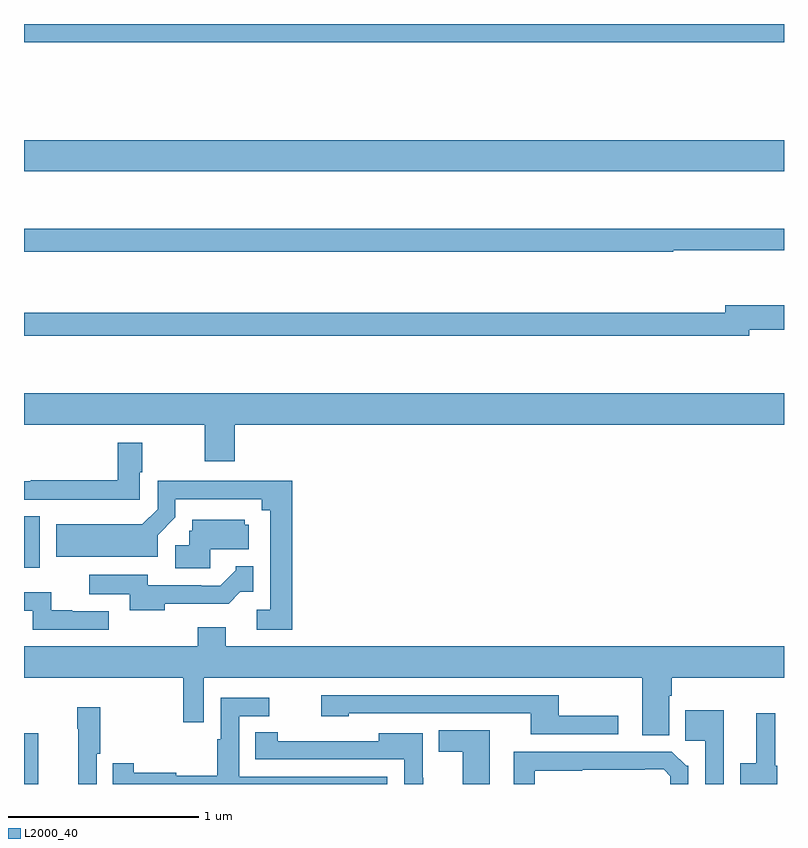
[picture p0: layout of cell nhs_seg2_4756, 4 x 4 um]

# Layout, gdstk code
import gdstk
lib = gdstk.Library(unit=1e-6, precision=1e-09)
def R(c, l, rs):  # rectangles x0, y0, x1, y1
    for r in rs: c.add(gdstk.rectangle(r[:2], r[2:], *l))
def P(c, l, *ps):  # polygons
    for p in ps: c.add(gdstk.Polygon(p, *l))
L2000_40 = (2000, 40)

nhs_seg2_4756 = lib.new_cell('nhs_seg2_4756')
R(nhs_seg2_4756, L2000_40, [(371,589.8,371.074,590.068), (371,590.937,371.083,591.208), (371,593.024,375,593.188), (371,593.704,375,593.8)])
P(nhs_seg2_4756, L2000_40, [(374.416,592.609),(375,592.609),(375,592.723),(371,592.723),(371,592.602),(374.416,592.602)],
  [(374.818,592.192),(375,592.192),(375,592.321),(374.69,592.321),(374.69,592.279),(371,592.279),(371,592.158),(374.818,592.158)],
  [(372.11,591.692),(375,591.692),(375,591.856),(371,591.856),(371,591.692),(371.95,591.692),(371.95,591.498),(372.11,591.498)],
  [(371.61,591.441),(371.623,591.441),(371.623,591.595),(371.494,591.595),(371.494,591.398),(371.035,591.398),(371.035,591.393),(371,591.393),(371,591.297),(371.179,591.297),(371.179,591.296),(371.61,591.296)],
  [(372.413,591.396),(371.703,591.396),(371.703,591.246),(371.623,591.166),(371.171,591.166),(371.171,590.996),(371.703,590.996),(371.703,591.11),(371.796,591.203),(371.796,591.3),(372.25,591.3),(372.25,591.242),(372.297,591.242),(372.297,590.718),(372.225,590.718),(372.225,590.613),(372.413,590.613)],
  [(371.98,591.035),(372.184,591.035),(372.184,591.165),(372.162,591.165),(372.162,591.19),(371.885,591.19),(371.885,591.132),(371.869,591.132),(371.869,591.057),(371.796,591.057),(371.796,590.936),(371.98,590.936)],
  [(371.74,590.75),(372.077,590.75),(372.138,590.811),(372.207,590.811),(372.207,590.947),(372.114,590.947),(372.114,590.925),(372.033,590.844),(371.933,590.844),(371.933,590.847),(371.652,590.847),(371.652,590.902),(371.343,590.902),(371.343,590.798),(371.556,590.798),(371.556,590.714),(371.74,590.714)],
  [(371.446,590.709),(371.255,590.709),(371.255,590.714),(371.144,590.714),(371.144,590.808),(371,590.808),(371,590.712),(371.046,590.712),(371.046,590.613),(371.446,590.613)],
  [(374.395,590.264),(374.408,590.264),(374.408,590.36),(375,590.36),(375,590.524),(372.061,590.524),(372.061,590.626),(371.914,590.626),(371.914,590.524),(371,590.524),(371,590.36),(371.838,590.36),(371.838,590.124),(371.946,590.124),(371.946,590.36),(374.255,590.36),(374.255,590.056),(374.395,590.056)],
  [(374.128,590.159),(373.815,590.159),(373.815,590.268),(372.564,590.268),(372.564,590.156),(372.708,590.156),(372.708,590.172),(373.667,590.172),(373.667,590.061),(374.128,590.061)],
  [(372.912,589.839),(372.132,589.839),(372.132,590.157),(372.292,590.157),(372.292,590.253),(372.036,590.253),(372.036,590.036),(372.016,590.036),(372.016,589.844),(371.802,589.844),(371.802,589.859),(371.578,589.859),(371.578,589.909),(371.467,589.909),(371.467,589.8),(372.912,589.8)],
  [(371.382,589.958),(371.402,589.958),(371.402,590.203),(371.279,590.203),(371.279,590.09),(371.285,590.09),(371.285,589.8),(371.382,589.8)],
  [(374.682,590.188),(374.48,590.188),(374.48,590.028),(374.586,590.028),(374.586,589.8),(374.682,589.8)],
  [(374.965,589.896),(374.954,589.896),(374.954,590.173),(374.855,590.173),(374.855,589.908),(374.771,589.908),(374.771,589.8),(374.965,589.8)],
  [(373.45,590.083),(373.183,590.083),(373.183,589.969),(373.31,589.969),(373.31,589.8),(373.45,589.8)],
  [(373.1,589.832),(373.098,589.832),(373.098,590.068),(372.866,590.068),(372.866,590.026),(372.336,590.026),(372.336,590.072),(372.217,590.072),(372.217,589.929),(373.002,589.929),(373.002,589.8),(373.1,589.8)],
  [(373.687,589.87),(373.937,589.87),(373.937,589.875),(374.267,589.875),(374.267,589.878),(374.366,589.878),(374.402,589.842),(374.402,589.8),(374.496,589.8),(374.496,589.896),(374.485,589.896),(374.41,589.971),(373.578,589.971),(373.578,589.8),(373.687,589.8)])

lib.write_gds('nhs_seg2_4756.gds')
